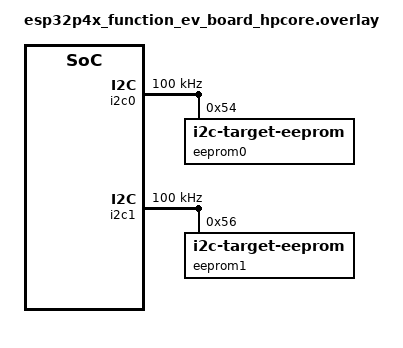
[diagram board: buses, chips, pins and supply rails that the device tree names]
/*
 * Copyright (c) 2026 Espressif Systems (Shanghai) Co., Ltd.
 *
 * SPDX-License-Identifier: Apache-2.0
 *
 * External-loopback overlay for the i2c_target_api dual-role test.
 *
 * GPIO7/GPIO8 are the onboard touch bus, so the loopback uses header
 * pins that are not connected to another device.
 *
 * Wire up two physical jumpers on J1:
 *   GPIO2 (i2c0 SDA) <-> GPIO32 (i2c1 SDA)
 *   GPIO3 (i2c0 SCL) <-> GPIO33 (i2c1 SCL)
 */

&pinctrl {
	i2c0_loopback: i2c0_loopback {
		group1 {
			pinmux = <I2C0_SDA_GPIO2>,
				 <I2C0_SCL_GPIO3>;
			bias-pull-up;
			drive-open-drain;
			output-high;
		};
	};

	i2c1_default: i2c1_default {
		group1 {
			pinmux = <I2C1_SDA_GPIO32>,
				 <I2C1_SCL_GPIO33>;
			bias-pull-up;
			drive-open-drain;
			output-high;
		};
	};
};

&gt911 {
	status = "disabled";
};

&i2c0 {
	pinctrl-0 = <&i2c0_loopback>;
	pinctrl-names = "default";
	clock-frequency = <I2C_BITRATE_STANDARD>;

	eeprom0: eeprom@54 {
		compatible = "zephyr,i2c-target-eeprom";
		reg = <0x54>;
		size = <256>;
	};
};

&i2c1 {
	status = "okay";
	clock-frequency = <I2C_BITRATE_STANDARD>;
	pinctrl-0 = <&i2c1_default>;
	pinctrl-names = "default";

	eeprom1: eeprom@56 {
		compatible = "zephyr,i2c-target-eeprom";
		reg = <0x56>;
		size = <256>;
	};
};
